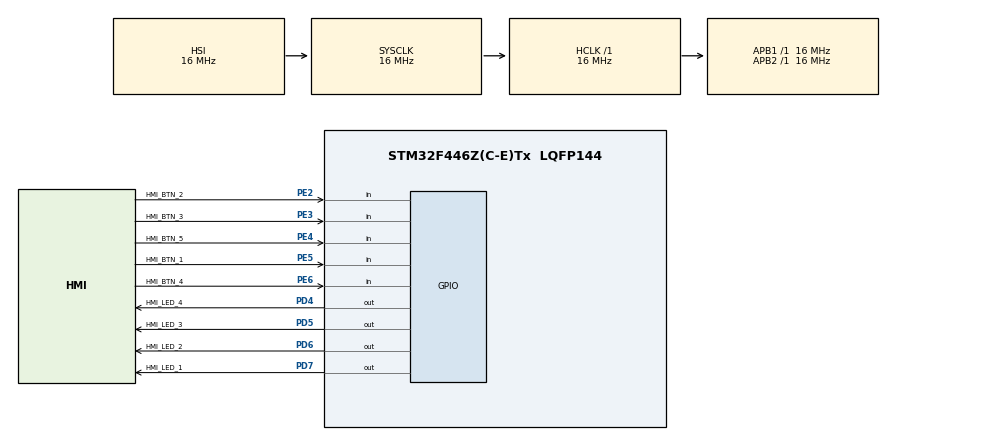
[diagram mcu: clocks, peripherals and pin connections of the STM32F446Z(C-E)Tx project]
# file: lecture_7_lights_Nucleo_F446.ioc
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Mcu.Family=STM32F4
Mcu.Name=STM32F446Z(C-E)Tx
Mcu.Package=LQFP144
NVIC.PriorityGroup=NVIC_PRIORITYGROUP_4
PA13.Mode=Serial_Wire
PA13.Signal=SYS_JTMS-SWDIO
PA14.Mode=Serial_Wire
PA14.Signal=SYS_JTCK-SWCLK
PD4.GPIO_Label=HMI_LED_4
PD4.GPIO_ModeDefaultOutputPP=GPIO_MODE_OUTPUT_PP
PD4.GPIO_PuPd=GPIO_NOPULL
PD4.GPIO_Speed=GPIO_SPEED_FREQ_LOW
PD4.PinState=GPIO_PIN_RESET
PD4.Signal=GPIO_Output
PD5.GPIO_Label=HMI_LED_3
PD5.GPIO_ModeDefaultOutputPP=GPIO_MODE_OUTPUT_PP
PD5.GPIO_PuPd=GPIO_NOPULL
PD5.GPIO_Speed=GPIO_SPEED_FREQ_LOW
PD5.PinState=GPIO_PIN_RESET
PD5.Signal=GPIO_Output
PD6.GPIO_Label=HMI_LED_2
PD6.GPIO_ModeDefaultOutputPP=GPIO_MODE_OUTPUT_PP
PD6.GPIO_PuPd=GPIO_NOPULL
PD6.GPIO_Speed=GPIO_SPEED_FREQ_LOW
PD6.PinState=GPIO_PIN_RESET
PD6.Signal=GPIO_Output
PD7.GPIO_Label=HMI_LED_1
PD7.GPIO_ModeDefaultOutputPP=GPIO_MODE_OUTPUT_PP
PD7.GPIO_PuPd=GPIO_NOPULL
PD7.GPIO_Speed=GPIO_SPEED_FREQ_LOW
PD7.PinState=GPIO_PIN_RESET
PD7.Signal=GPIO_Output
PE2.GPIO_Label=HMI_BTN_2
PE2.GPIO_Mode=GPIO_MODE_INPUT
PE2.GPIO_PuPd=GPIO_PULLDOWN
PE2.Signal=GPIO_Input
PE3.GPIO_Label=HMI_BTN_3
PE3.GPIO_Mode=GPIO_MODE_INPUT
PE3.GPIO_PuPd=GPIO_PULLDOWN
PE3.Signal=GPIO_Input
PE4.GPIO_Label=HMI_BTN_5
PE4.GPIO_Mode=GPIO_MODE_INPUT
PE4.GPIO_PuPd=GPIO_PULLDOWN
PE4.Signal=GPIO_Input
PE5.GPIO_Label=HMI_BTN_1
PE5.GPIO_Mode=GPIO_MODE_INPUT
PE5.GPIO_PuPd=GPIO_PULLDOWN
PE5.Signal=GPIO_Input
PE6.GPIO_Label=HMI_BTN_4
PE6.GPIO_Mode=GPIO_MODE_INPUT
PE6.GPIO_PuPd=GPIO_PULLDOWN
PE6.Signal=GPIO_Input
PH0-OSC_IN.Mode=HSE-External-Clock-Source
PH0-OSC_IN.Signal=RCC_OSC_IN
PH1-OSC_OUT.Mode=HSE-External-Clock-Source
PH1-OSC_OUT.Signal=RCC_OSC_OUT
ProjectManager.HeapSize=0x200
ProjectManager.StackSize=0x400
ProjectManager.TargetToolchain=STM32CubeIDE
RCC.48MHZClocksFreq_Value=24000000
RCC.AHBFreq_Value=16000000
RCC.APB1Freq_Value=16000000
RCC.APB1TimFreq_Value=16000000
RCC.APB2Freq_Value=16000000
RCC.APB2TimFreq_Value=16000000
RCC.CortexFreq_Value=16000000
RCC.HCLKFreq_Value=16000000
RCC.HSE_VALUE=8000000
RCC.HSI_VALUE=16000000
RCC.PLLM=4
RCC.PLLMUL=RCC_PLL_MUL9
RCC.PLLN=168
RCC.PLLQ=7
RCC.PRESCALERUSB=RCC_USBCLKSOURCE_PLL_DIV1_5
RCC.SYSCLKFreq_VALUE=16000000
RCC.SYSCLKSourceVirtual=RCC_SYSCLKSOURCE_PLLCLK
RCC.USBFreq_Value=96000000
RCC.VCOOutputFreq_Value=672000000
board=NUCLEO-F446ZE

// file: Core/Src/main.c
/* USER CODE BEGIN Header */
/**
  ******************************************************************************
  * @file           : main.c
  * @brief          : Main program body
  ******************************************************************************
  * @attention
  *
  * Copyright (c) 2024 STMicroelectronics.
  * All rights reserved.
  *
  * This software is licensed under terms that can be found in the LICENSE file
  * in the root directory of this software component.
  * If no LICENSE file comes with this software, it is provided AS-IS.
  *
  ******************************************************************************
  */
/* USER CODE END Header */
#include "main.h"

void SystemClock_Config(void);
static void MX_GPIO_Init(void);

int main(void)
{

  /* MCU Configuration--------------------------------------------------------*/

  /* Reset of all peripherals, Initializes the Flash interface and the Systick. */
  HAL_Init();

  /* Configure the system clock */
  SystemClock_Config();

  /* Initialize all configured peripherals */
  MX_GPIO_Init();
  /* USER CODE BEGIN 2 */

  uint8_t state = 0x01;

  /* USER CODE END 2 */

  /* Infinite loop */
  /* USER CODE BEGIN WHILE */
  while (1)
  {
	  //Set the LED control pins based on the state variable value
	  HAL_GPIO_WritePin(HMI_LED_1_GPIO_Port, HMI_LED_1_Pin, state & 0x01 ? GPIO_PIN_SET : GPIO_PIN_RESET);
	  HAL_GPIO_WritePin(HMI_LED_2_GPIO_Port, HMI_LED_2_Pin, state & 0x02 ? GPIO_PIN_SET : GPIO_PIN_RESET);
	  HAL_GPIO_WritePin(HMI_LED_3_GPIO_Port, HMI_LED_3_Pin, state & 0x04 ? GPIO_PIN_SET : GPIO_PIN_RESET);
	  HAL_GPIO_WritePin(HMI_LED_4_GPIO_Port, HMI_LED_4_Pin, state & 0x08 ? GPIO_PIN_SET : GPIO_PIN_RESET);

	  state <<= 1;		//left shifting (multiplication by 2)
	  //value reset if it is equal by 16
	  if (state == 0x10)
	  {
		  state = 0x01;
	  }

	  HAL_Delay(100);		//cycle wait time
	  HAL_GPIO_TogglePin(HMI_LED_1_GPIO_Port, HMI_LED_1_Pin);
	  HAL_Delay(100);
	  HAL_GPIO_TogglePin(HMI_LED_2_GPIO_Port, HMI_LED_2_Pin);
	  HAL_Delay(100);
	  HAL_GPIO_TogglePin(HMI_LED_3_GPIO_Port, HMI_LED_3_Pin);
	  HAL_Delay(100);
	  HAL_GPIO_TogglePin(HMI_LED_4_GPIO_Port, HMI_LED_4_Pin);
	  HAL_Delay(1000);
    /* USER CODE END WHILE */

  }
}

void SystemClock_Config(void)
{
  RCC_OscInitTypeDef RCC_OscInitStruct = {0};
  RCC_ClkInitTypeDef RCC_ClkInitStruct = {0};

  /** Configure the main internal regulator output voltage
  */
  __HAL_RCC_PWR_CLK_ENABLE();
  __HAL_PWR_VOLTAGESCALING_CONFIG(PWR_REGULATOR_VOLTAGE_SCALE3);

  /** Initializes the RCC Oscillators according to the specified parameters
  * in the RCC_OscInitTypeDef structure.
  */
  RCC_OscInitStruct.OscillatorType = RCC_OSCILLATORTYPE_HSI;
  RCC_OscInitStruct.HSIState = RCC_HSI_ON;
  RCC_OscInitStruct.HSICalibrationValue = RCC_HSICALIBRATION_DEFAULT;
  RCC_OscInitStruct.PLL.PLLState = RCC_PLL_NONE;
  if (HAL_RCC_OscConfig(&RCC_OscInitStruct) != HAL_OK)
  {
    Error_Handler();
  }

  /** Initializes the CPU, AHB and APB buses clocks
  */
  RCC_ClkInitStruct.ClockType = RCC_CLOCKTYPE_HCLK|RCC_CLOCKTYPE_SYSCLK
                              |RCC_CLOCKTYPE_PCLK1|RCC_CLOCKTYPE_PCLK2;
  RCC_ClkInitStruct.SYSCLKSource = RCC_SYSCLKSOURCE_HSI;
  RCC_ClkInitStruct.AHBCLKDivider = RCC_SYSCLK_DIV1;
  RCC_ClkInitStruct.APB1CLKDivider = RCC_HCLK_DIV1;
  RCC_ClkInitStruct.APB2CLKDivider = RCC_HCLK_DIV1;

  if (HAL_RCC_ClockConfig(&RCC_ClkInitStruct, FLASH_LATENCY_0) != HAL_OK)
  {
    Error_Handler();
  }
}

static void MX_GPIO_Init(void)
{
  GPIO_InitTypeDef GPIO_InitStruct = {0};

  /* GPIO Ports Clock Enable */
  __HAL_RCC_GPIOE_CLK_ENABLE();
  __HAL_RCC_GPIOH_CLK_ENABLE();
  __HAL_RCC_GPIOA_CLK_ENABLE();
  __HAL_RCC_GPIOD_CLK_ENABLE();

  /*Configure GPIO pin Output Level */
  HAL_GPIO_WritePin(GPIOD, HMI_LED_4_Pin|HMI_LED_3_Pin|HMI_LED_2_Pin|HMI_LED_1_Pin, GPIO_PIN_RESET);

  /*Configure GPIO pins : HMI_BTN_2_Pin HMI_BTN_3_Pin HMI_BTN_5_Pin HMI_BTN_1_Pin
                           HMI_BTN_4_Pin */
  GPIO_InitStruct.Pin = HMI_BTN_2_Pin|HMI_BTN_3_Pin|HMI_BTN_5_Pin|HMI_BTN_1_Pin
                          |HMI_BTN_4_Pin;
  GPIO_InitStruct.Mode = GPIO_MODE_INPUT;
  GPIO_InitStruct.Pull = GPIO_PULLDOWN;
  HAL_GPIO_Init(GPIOE, &GPIO_InitStruct);

  /*Configure GPIO pins : HMI_LED_4_Pin HMI_LED_3_Pin HMI_LED_2_Pin HMI_LED_1_Pin */
  GPIO_InitStruct.Pin = HMI_LED_4_Pin|HMI_LED_3_Pin|HMI_LED_2_Pin|HMI_LED_1_Pin;
  GPIO_InitStruct.Mode = GPIO_MODE_OUTPUT_PP;
  GPIO_InitStruct.Pull = GPIO_NOPULL;
  GPIO_InitStruct.Speed = GPIO_SPEED_FREQ_LOW;
  HAL_GPIO_Init(GPIOD, &GPIO_InitStruct);

}

void Error_Handler(void)
{
  __disable_irq();
  while (1)
  {
  }
}
